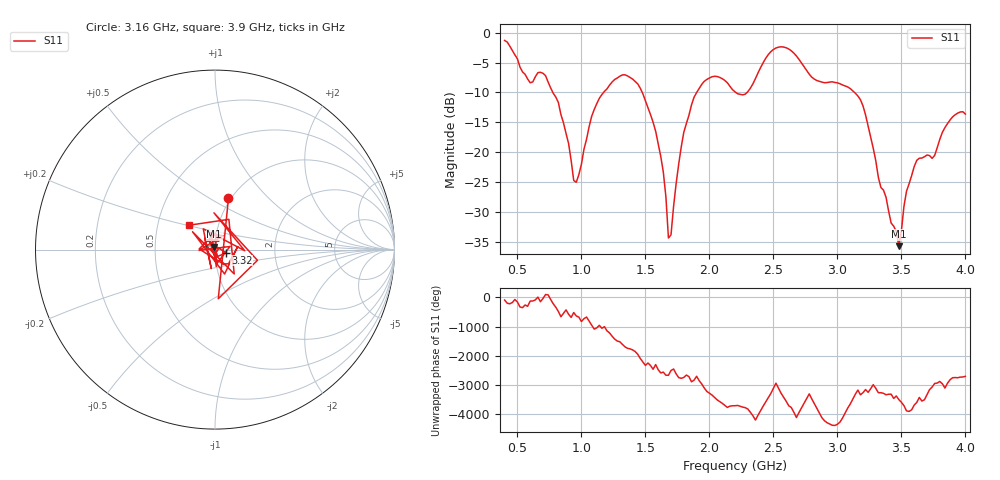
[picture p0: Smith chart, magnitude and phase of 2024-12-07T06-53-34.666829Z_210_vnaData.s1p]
!Created with skrf (http://scikit-rf.org).
# Hz S RI R 50.0
!freq ReS11 ImS11
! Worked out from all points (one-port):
!   181 points, 400 MHz to 4 GHz, reference 50 ohm
!   lowest |S11| = -35.8 dB at 3.48 GHz (marker M1), VSWR 1.03, Z = 49.5 + j1.53 ohm
!   |S11| at or under -10 dB: 776.6 MHz to 1.173 GHz (396.8 MHz wide, 40.7 % of centre); 1.475 GHz to 1.901 GHz (425.5 MHz wide, 25.2 % of centre); 3.134 GHz to end of sweep (the widest 3 of 4)
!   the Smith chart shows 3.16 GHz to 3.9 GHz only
!   S11 on the Smith chart (normalised r, x): 3.16 GHz: 0.97, +0.61; 3.32 GHz: 1.12, -0.04; 3.9 GHz: 0.73, +0.21
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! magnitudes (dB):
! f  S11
! 400 MHz  -1.3
! 600 MHz  -8.4
! 720 MHz  -7.2
! 860 MHz  -15.1
! 960 MHz  -25.1
! 1.1 GHz  -12.9
! 1.3 GHz  -7.3
! 1.44 GHz  -8.6
! 1.56 GHz  -15.0
! 1.64 GHz  -23.4
! 1.68 GHz  -34.4
! 1.7 GHz  -33.9
! 1.76 GHz  -22.0
! 1.86 GHz  -12.1
! 1.94 GHz  -8.7
! 2.2 GHz  -9.9
! 2.3 GHz  -9.9
! 2.5 GHz  -2.8
! 2.66 GHz  -3.4
! 2.82 GHz  -7.8
! 3.1 GHz  -9.4
! 3.16 GHz  -10.6
! 3.32 GHz  -24.2
! 3.48 GHz  -35.8
! 3.56 GHz  -25.3
! 3.62 GHz  -21.4
! 3.9 GHz  -14.1
! 4 GHz  -13.6
